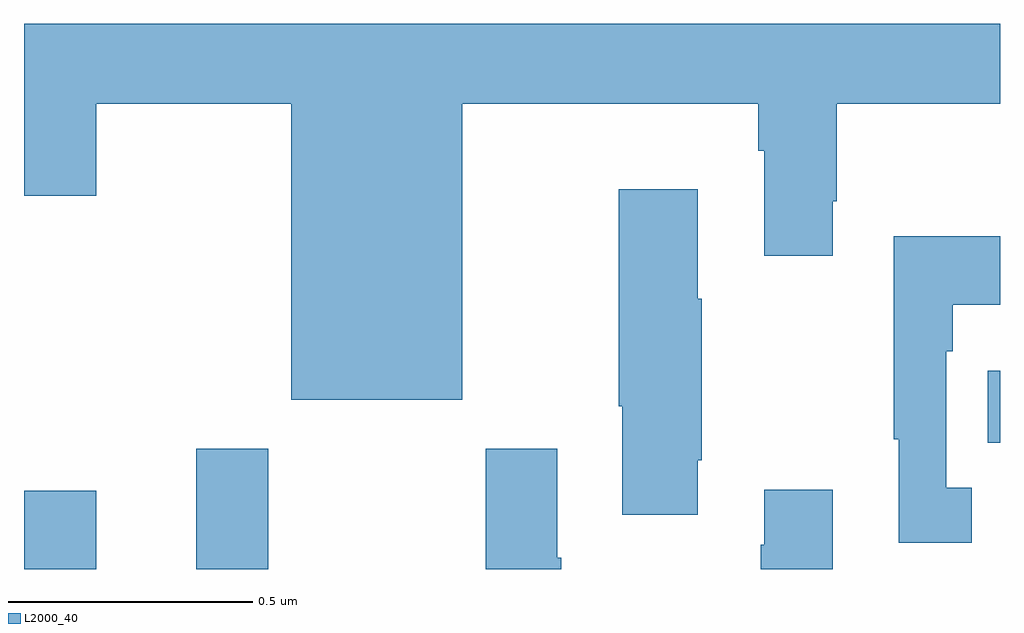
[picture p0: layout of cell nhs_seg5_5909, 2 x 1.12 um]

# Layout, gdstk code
import gdstk
lib = gdstk.Library(unit=1e-6, precision=1e-09)
def R(c, l, rs):  # rectangles x0, y0, x1, y1
    for r in rs: c.add(gdstk.rectangle(r[:2], r[2:], *l))
def P(c, l, *ps):  # polygons
    for p in ps: c.add(gdstk.Polygon(p, *l))
L2000_40 = (2000, 40)

nhs_seg5_5909 = lib.new_cell('nhs_seg5_5909')
R(nhs_seg5_5909, L2000_40, [(189,863.799,189.148,863.959), (189.353,863.799,189.501,864.046), (190.975,864.058,191,864.205)])
P(nhs_seg5_5909, L2000_40, [(189.898,864.752),(190.505,864.752),(190.505,864.656),(190.517,864.656),(190.517,864.441),(190.657,864.441),(190.657,864.553),(190.665,864.553),(190.665,864.752),(191,864.752),(191,864.916),(189,864.916),(189,864.564),(189.148,864.564),(189.148,864.752),(189.548,864.752),(189.548,864.146),(189.898,864.146)],
  [(190.381,864.022),(190.389,864.022),(190.389,864.353),(190.381,864.353),(190.381,864.577),(190.219,864.577),(190.219,864.133),(190.226,864.133),(190.226,863.91),(190.381,863.91)],
  [(190.942,863.966),(190.89,863.966),(190.89,864.245),(190.903,864.245),(190.903,864.341),(191,864.341),(191,864.481),(190.782,864.481),(190.782,864.065),(190.793,864.065),(190.793,863.853),(190.942,863.853)],
  [(190.101,863.822),(190.093,863.822),(190.093,864.046),(189.946,864.046),(189.946,863.799),(190.101,863.799)],
  [(190.657,863.962),(190.517,863.962),(190.517,863.849),(190.51,863.849),(190.51,863.799),(190.657,863.799)])

lib.write_gds('nhs_seg5_5909.gds')
